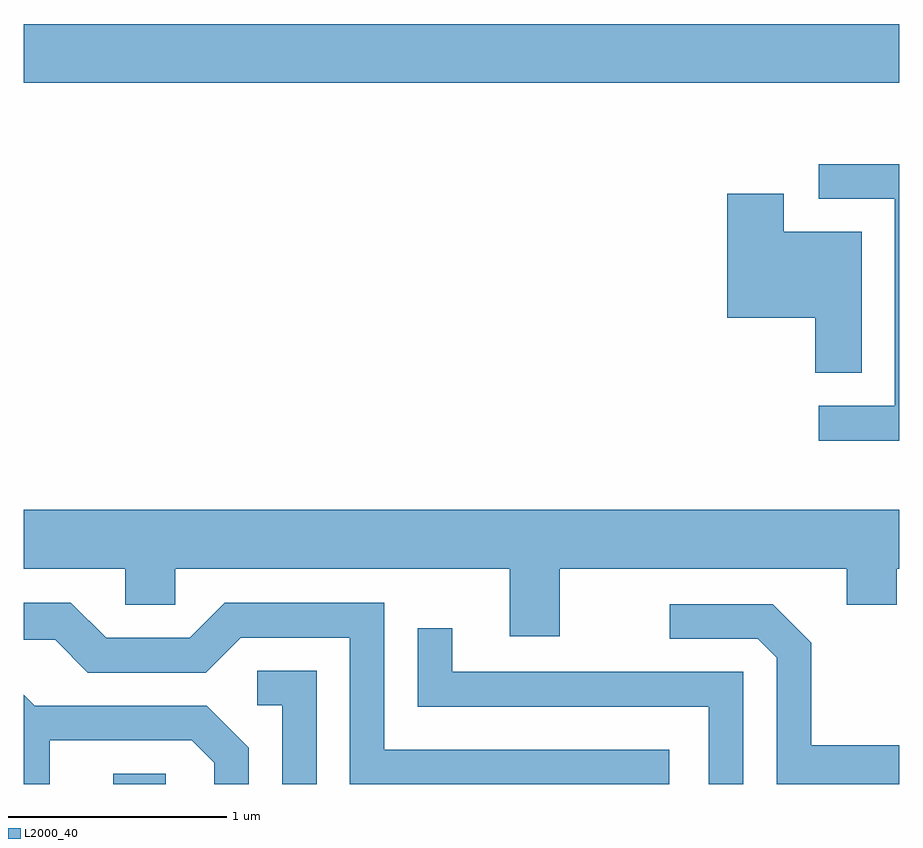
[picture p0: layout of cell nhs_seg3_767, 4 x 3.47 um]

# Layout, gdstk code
import gdstk
lib = gdstk.Library(unit=1e-6, precision=1e-09)
def R(c, l, rs):  # rectangles x0, y0, x1, y1
    for r in rs: c.add(gdstk.rectangle(r[:2], r[2:], *l))
def P(c, l, *ps):  # polygons
    for p in ps: c.add(gdstk.Polygon(p, *l))
L2000_40 = (2000, 40)

nhs_seg3_767 = lib.new_cell('nhs_seg3_767')
R(nhs_seg3_767, L2000_40, [(208.021,1153.892,208.259,1153.939), (207.611,1157.096,211.611,1157.364)])
P(nhs_seg3_767, L2000_40, [(211.611,1156.724),(211.243,1156.724),(211.243,1156.566),(211.591,1156.566),(211.591,1155.619),(211.243,1155.619),(211.243,1155.461),(211.611,1155.461)],
  [(211.439,1156.414),(211.084,1156.414),(211.084,1156.589),(210.826,1156.589),(210.826,1156.021),(211.226,1156.021),(211.226,1155.771),(211.439,1155.771)],
  [(210.059,1154.876),(211.371,1154.876),(211.371,1154.711),(211.599,1154.711),(211.599,1154.876),(211.611,1154.876),(211.611,1155.144),(207.611,1155.144),(207.611,1154.876),(208.076,1154.876),(208.076,1154.711),(208.304,1154.711),(208.304,1154.876),(209.831,1154.876),(209.831,1154.566),(210.059,1154.566)],
  [(210.559,1154.049),(209.259,1154.049),(209.259,1154.719),(208.529,1154.719),(208.369,1154.559),(207.987,1154.559),(207.827,1154.719),(207.611,1154.719),(207.611,1154.551),(207.754,1154.551),(207.904,1154.401),(208.442,1154.401),(208.602,1154.561),(209.101,1154.561),(209.101,1153.892),(210.559,1153.892)],
  [(211.611,1154.069),(211.209,1154.069),(211.209,1154.537),(211.032,1154.714),(210.563,1154.714),(210.563,1154.556),(210.964,1154.556),(211.051,1154.469),(211.051,1153.892),(211.611,1153.892)],
  [(210.899,1154.404),(209.569,1154.404),(209.569,1154.603),(209.411,1154.603),(209.411,1154.246),(210.741,1154.246),(210.741,1153.892),(210.899,1153.892)],
  [(208.949,1154.409),(208.678,1154.409),(208.678,1154.251),(208.791,1154.251),(208.791,1153.892),(208.949,1153.892)],
  [(207.729,1154.091),(208.379,1154.091),(208.481,1153.989),(208.481,1153.892),(208.639,1153.892),(208.639,1154.057),(208.447,1154.249),(207.662,1154.249),(207.611,1154.3),(207.611,1153.892),(207.729,1153.892)])

lib.write_gds('nhs_seg3_767.gds')
